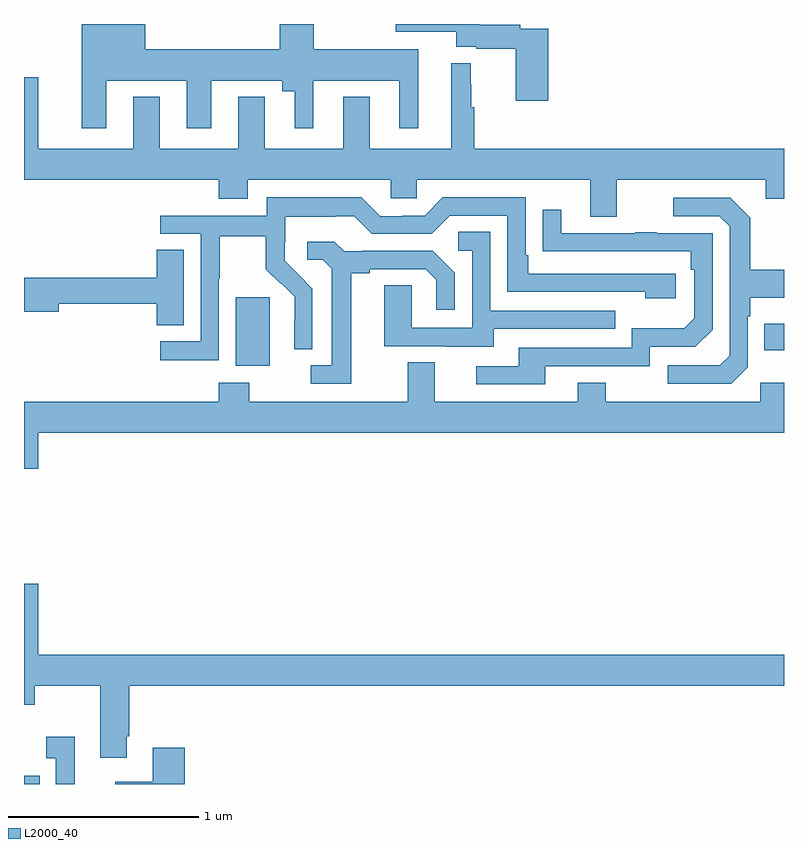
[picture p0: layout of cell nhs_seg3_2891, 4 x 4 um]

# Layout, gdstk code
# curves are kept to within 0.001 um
import gdstk
lib = gdstk.Library(unit=1e-6, precision=1e-09)
def R(c, l, rs):  # rectangles x0, y0, x1, y1
    for r in rs: c.add(gdstk.rectangle(r[:2], r[2:], *l))
def P(c, l, *ps):  # polygons
    for p in ps: c.add(gdstk.Polygon(p, *l))
L2000_40 = (2000, 40)

nhs_seg3_2891 = lib.new_cell('nhs_seg3_2891')
R(nhs_seg3_2891, L2000_40, [(261,700.4,261.083,700.443), (262.115,702.602,262.294,702.963), (264.895,702.683,265,702.823)])
P(nhs_seg3_2891, L2000_40, [(261.433,704.102),(261.857,704.102),(261.857,703.851),(261.985,703.851),(261.985,704.102),(262.358,704.102),(262.358,704.045),(262.424,704.045),(262.424,703.851),(262.522,703.851),(262.522,704.102),(262.976,704.102),(262.976,703.851),(263.074,703.851),(263.074,704.266),(262.524,704.266),(262.524,704.398),(262.346,704.398),(262.346,704.266),(261.637,704.266),(261.637,704.4),(261.305,704.4),(261.305,703.851),(261.433,703.851)],
  [(263.759,704.376),(263.612,704.376),(263.612,704.396),(263.399,704.396),(263.399,704.4),(262.956,704.4),(262.956,704.36),(263.276,704.36),(263.276,704.28),(263.38,704.28),(263.38,704.269),(263.588,704.269),(263.588,703.995),(263.759,703.995)],
  [(264.121,703.58),(264.905,703.58),(264.905,703.481),(265,703.481),(265,703.744),(263.371,703.744),(263.371,703.961),(263.353,703.961),(263.353,704.081),(263.351,704.081),(263.351,704.194),(263.249,704.194),(263.249,703.744),(262.819,703.744),(262.819,704.017),(262.679,704.017),(262.679,703.744),(262.267,703.744),(262.267,704.017),(262.127,704.017),(262.127,703.744),(261.715,703.744),(261.715,704.017),(261.575,704.017),(261.575,703.744),(261.076,703.744),(261.076,704.119),(261,704.119),(261,703.58),(262.025,703.58),(262.025,703.481),(262.177,703.481),(262.177,703.58),(262.929,703.58),(262.929,703.482),(263.067,703.482),(263.067,703.58),(263.981,703.58),(263.981,703.386),(264.121,703.386)],
  [(262.026,703.06),(262.029,703.06),(262.029,703.284),(262.273,703.284),(262.273,703.109),(262.35,703.032),(262.353,703.035),(262.424,702.965),(262.424,702.842),(262.422,702.842),(262.422,702.688),(262.518,702.688),(262.518,703.006),(262.372,703.154),(262.372,703.251),(262.374,703.251),(262.374,703.385),(262.637,703.385),(262.637,703.389),(262.737,703.389),(262.83,703.296),(263.145,703.296),(263.241,703.392),(263.544,703.392),(263.544,702.99),(264.269,702.99),(264.269,702.956),(264.43,702.956),(264.43,703.086),(263.653,703.086),(263.653,703.183),(263.64,703.183),(263.64,703.488),(263.205,703.488),(263.109,703.392),(262.991,703.392),(262.991,703.389),(262.875,703.389),(262.775,703.489),(262.278,703.489),(262.278,703.392),(261.717,703.392),(261.717,703.296),(261.93,703.296),(261.93,702.729),(261.717,702.729),(261.717,702.631),(262.026,702.631)],
  [(264.81,702.594),(264.81,702.863),(264.823,702.863),(264.823,702.959),(265,702.959),(265,703.107),(264.823,703.107),(264.823,703.379),(264.717,703.485),(264.417,703.485),(264.417,703.389),(264.66,703.389),(264.714,703.335),(264.714,702.654),(264.663,702.603),(264.387,702.603),(264.387,702.507),(264.723,702.507)],
  [(263.743,702.6),(264.294,702.6),(264.294,702.702),(264.534,702.702),(264.624,702.792),(264.624,703.299),(264.329,703.299),(264.329,703.304),(264.217,703.304),(264.217,703.299),(263.827,703.299),(263.827,703.423),(263.731,703.423),(263.731,703.204),(264.508,703.203),(264.508,703.106),(264.528,703.106),(264.528,702.852),(264.475,702.799),(264.198,702.799),(264.198,702.696),(263.603,702.696),(263.603,702.6),(263.379,702.6),(263.379,702.504),(263.743,702.504)],
  [(263.473,702.795),(264.113,702.795),(264.113,702.891),(263.454,702.891),(263.454,703.307),(263.286,703.307),(263.286,703.206),(263.358,703.206),(263.358,702.801),(263.04,702.801),(263.04,703.025),(262.895,703.025),(262.895,702.705),(263.219,702.705),(263.219,702.701),(263.473,702.701)],
  [(262.723,703.088),(262.819,703.088),(262.819,703.11),(263.114,703.11),(263.171,703.053),(263.171,702.897),(263.268,702.897),(263.268,703.09),(263.152,703.206),(262.78,703.206),(262.78,703.203),(262.686,703.203),(262.634,703.255),(262.491,703.255),(262.491,703.158),(262.572,703.158),(262.619,703.111),(262.619,702.603),(262.509,702.603),(262.509,702.507),(262.723,702.507)],
  [(261.841,703.211),(261.698,703.211),(261.698,703.064),(261,703.064),(261,702.886),(261.184,702.886),(261.184,702.928),(261.698,702.928),(261.698,702.814),(261.841,702.814)],
  [(261.076,702.248),(265,702.248),(265,702.511),(264.876,702.511),(264.876,702.412),(264.063,702.412),(264.063,702.511),(263.915,702.511),(263.915,702.412),(263.161,702.412),(263.161,702.62),(263.021,702.62),(263.021,702.412),(262.185,702.412),(262.185,702.511),(262.025,702.511),(262.025,702.412),(261,702.412),(261,702.06),(261.076,702.06)],
  [(261.541,700.651),(261.554,700.651),(261.554,700.916),(265,700.916),(265,701.08),(261.076,701.08),(261.076,701.455),(261,701.455),(261,700.817),(261.057,700.817),(261.057,700.916),(261.401,700.916),(261.401,700.539),(261.541,700.539)],
  [(261.266,700.648),(261.117,700.648),(261.117,700.535),(261.168,700.535),(261.168,700.4),(261.266,700.4)],
  [(261.845,700.591),(261.677,700.591),(261.677,700.411),(261.48,700.411),(261.48,700.4),(261.845,700.4)])

lib.write_gds('nhs_seg3_2891.gds')
